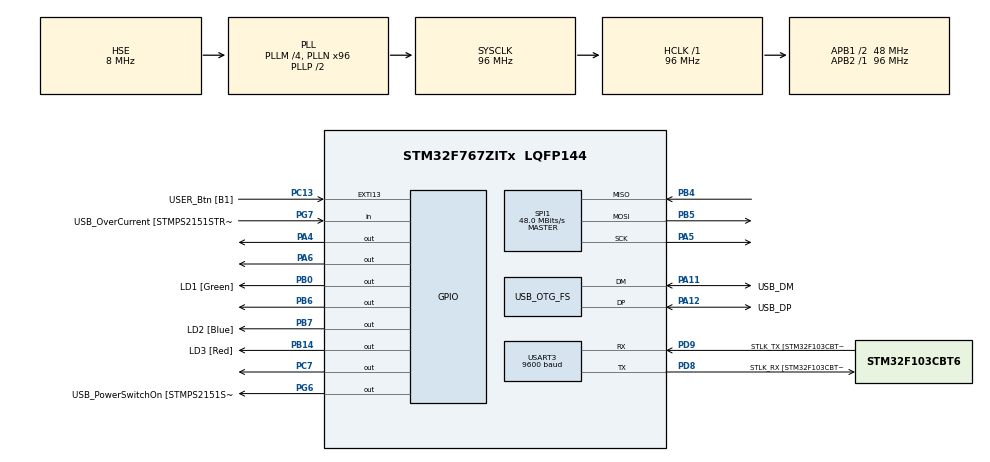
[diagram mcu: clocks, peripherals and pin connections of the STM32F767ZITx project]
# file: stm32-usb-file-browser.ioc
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CORTEX_M7.default_mode_Activation=1
Mcu.Family=STM32F7
Mcu.Name=STM32F767ZITx
Mcu.Package=LQFP144
NVIC.OTG_FS_IRQn=true\:0\:0\:false\:false\:true\:true\:false\:true
NVIC.PriorityGroup=NVIC_PRIORITYGROUP_4
PA1.GPIO_Label=RMII_REF_CLK [LAN8742A-CZ-TR_REFCLK0]
PA1.Signal=ETH_REF_CLK
PA10.GPIO_Label=USB_ID
PA10.Signal=USB_OTG_FS_ID
PA11.GPIO_Label=USB_DM
PA11.Mode=Host_Only
PA11.Signal=USB_OTG_FS_DM
PA12.GPIO_Label=USB_DP
PA12.Mode=Host_Only
PA12.Signal=USB_OTG_FS_DP
PA13.GPIO_Label=TMS
PA13.Mode=Serial_Wire
PA13.Signal=SYS_JTMS-SWDIO
PA14.GPIO_Label=TCK
PA14.Mode=Serial_Wire
PA14.Signal=SYS_JTCK-SWCLK
PA2.GPIO_Label=RMII_MDIO [LAN8742A-CZ-TR_MDIO]
PA2.Signal=ETH_MDIO
PA4.PinState=GPIO_PIN_SET
PA4.Signal=GPIO_Output
PA5.Mode=Full_Duplex_Master
PA5.Signal=SPI1_SCK
PA6.Signal=GPIO_Output
PA7.GPIO_Label=RMII_CRS_DV [LAN8742A-CZ-TR_CRS_DV]
PA7.Signal=ETH_CRS_DV
PA8.GPIO_Label=USB_SOF [TP1]
PA8.Signal=USB_OTG_FS_SOF
PA9.GPIO_Label=USB_VBUS
PA9.Signal=USB_OTG_FS_VBUS
PB0.GPIO_Label=LD1 [Green]
PB0.Signal=GPIO_Output
PB13.GPIO_Label=RMII_TXD1 [LAN8742A-CZ-TR_TXD1]
PB13.Signal=ETH_TXD1
PB14.GPIO_Label=LD3 [Red]
PB14.Signal=GPIO_Output
PB3.GPIO_Label=SW0
PB3.Signal=SYS_JTDO-SWO
PB4.Mode=Full_Duplex_Master
PB4.Signal=SPI1_MISO
PB5.Mode=Full_Duplex_Master
PB5.Signal=SPI1_MOSI
PB6.PinState=GPIO_PIN_SET
PB6.Signal=GPIO_Output
PB7.GPIO_Label=LD2 [Blue]
PB7.Signal=GPIO_Output
PC1.GPIO_Label=RMII_MDC [LAN8742A-CZ-TR_MDC]
PC1.Signal=ETH_MDC
PC13.GPIO_Label=USER_Btn [B1]
PC13.Signal=GPXTI13
PC14/OSC32_IN.Signal=RCC_OSC32_IN
PC15/OSC32_OUT.Signal=RCC_OSC32_OUT
PC4.GPIO_Label=RMII_RXD0 [LAN8742A-CZ-TR_RXD0]
PC4.Signal=ETH_RXD0
PC5.GPIO_Label=RMII_RXD1 [LAN8742A-CZ-TR_RXD1]
PC5.Signal=ETH_RXD1
PC7.PinState=GPIO_PIN_SET
PC7.Signal=GPIO_Output
PD8.GPIO_Label=STLK_RX [STM32F103CBT6_PA3]
PD8.Mode=Asynchronous
PD8.Signal=USART3_TX
PD9.GPIO_Label=STLK_TX [STM32F103CBT6_PA2]
PD9.Mode=Asynchronous
PD9.Signal=USART3_RX
PG11.GPIO_Label=RMII_TX_EN [LAN8742A-CZ-TR_TXEN]
PG11.Signal=ETH_TX_EN
PG13.GPIO_Label=RMII_TXD0 [LAN8742A-CZ-TR_TXD0]
PG13.Signal=ETH_TXD0
PG6.GPIO_Label=USB_PowerSwitchOn [STMPS2151STR_EN]
PG6.Signal=GPIO_Output
PG7.GPIO_Label=USB_OverCurrent [STMPS2151STR_FAULT]
PG7.Signal=GPIO_Input
PH0/OSC_IN.GPIO_Label=MCO [STM32F103CBT6_PA8]
PH0/OSC_IN.Mode=HSE-External-Clock-Source
PH0/OSC_IN.Signal=RCC_OSC_IN
PH1/OSC_OUT.Mode=HSE-External-Clock-Source
PH1/OSC_OUT.Signal=RCC_OSC_OUT
ProjectManager.HeapSize=0x200
ProjectManager.StackSize=0x400
ProjectManager.TargetToolchain=STM32CubeIDE
RCC.48MHZClocksFreq_Value=24000000
RCC.AHBFreq_Value=96000000
RCC.APB1CLKDivider=RCC_HCLK_DIV2
RCC.APB1Freq_Value=48000000
RCC.APB1TimFreq_Value=96000000
RCC.APB2Freq_Value=96000000
RCC.APB2TimFreq_Value=96000000
RCC.CortexFreq_Value=96000000
RCC.HCLKFreq_Value=96000000
RCC.HSE_VALUE=8000000
RCC.HSI_VALUE=16000000
RCC.LSE_VALUE=32768
RCC.PLLM=4
RCC.PLLMUL=RCC_PLL_MUL9
RCC.PLLN=96
RCC.PLLQ=4
RCC.PRESCALERUSB=RCC_USBCLKSOURCE_PLL_DIV1_5
RCC.SYSCLKFreq_VALUE=96000000
RCC.SYSCLKSource=RCC_SYSCLKSOURCE_PLLCLK
RCC.SYSCLKSourceVirtual=RCC_SYSCLKSOURCE_PLLCLK
RCC.USBFreq_Value=48000000
RCC.VCOOutputFreq_Value=192000000
SPI1.CalculateBaudRate=48.0 MBits/s
SPI1.DataSize=SPI_DATASIZE_8BIT
SPI1.Direction=SPI_DIRECTION_2LINES
SPI1.Mode=SPI_MODE_MASTER
SPI1.VirtualType=VM_MASTER
USART3.BaudRate=9600
USART3.VirtualMode-Asynchronous=VM_ASYNC
USB_OTG_FS.VirtualMode=Host_Only
USB_OTG_FS.phy_itface=HCD_PHY_EMBEDDED
board=NUCLEO-F767ZI

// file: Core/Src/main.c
/* USER CODE BEGIN Header */
/**
  ******************************************************************************
  * @file           : main.c
  * @brief          : Main program body
  ******************************************************************************
  * @attention
  *
  * Copyright (c) 2026 STMicroelectronics.
  * All rights reserved.
  *
  * This software is licensed under terms that can be found in the LICENSE file
  * in the root directory of this software component.
  * If no LICENSE file comes with this software, it is provided AS-IS.
  *
  ******************************************************************************
  */
/* USER CODE END Header */
#include "main.h"

/* USER CODE BEGIN Includes */
#include "lcd.h"
#include "touch.h"
#include <stdio.h>
#include <string.h>

#include "lvgl/lvgl.h"
#include "ui.h"
#include "actions.h"
#include "tusb.h"
#include "ff.h"
#include "diskio.h"
/* USER CODE END Includes */

SPI_HandleTypeDef hspi1;

UART_HandleTypeDef huart3;

HCD_HandleTypeDef hhcd_USB_OTG_FS;

/* USER CODE BEGIN PV */

#define LVGL_BUFFER_PIXELS (LCD_W * (LCD_H / 4))
static uint16_t buffer_pix[LVGL_BUFFER_PIXELS]__attribute__((aligned(4)));
static lv_display_t* disp;
static FATFS fs;

#define FM_VIEW_BYTES 4096

static char fm_pathbuffer[512] = "0:";
static char fm_fullpath[768];
static char fm_filebuf[FM_VIEW_BYTES + 1];
static FIL fm_file;
static lv_obj_t* fm_path_label;
static lv_obj_t* fm_wait_label;
static char fm_volname[24] = "USB";
static bool fm_ready = false;

/* USER CODE END PV */

void SystemClock_Config(void);
static void MPU_Config(void);
static void MX_GPIO_Init(void);
static void MX_SPI1_Init(void);
static void MX_USART3_UART_Init(void);
static void MX_USB_OTG_FS_HCD_Init(void);
/* USER CODE BEGIN PFP */
void lcd_flush(lv_display_t * disp, const lv_area_t * area, uint8_t * px_map);
void lcd_indev(lv_indev_t * indev, lv_indev_data_t * data);
static void fm_list_fill(void);
static void fm_ui_init(void);
/* USER CODE END PFP */

int main(void)
{

  /* USER CODE BEGIN 1 */
	lv_indev_t* touch_indev;
  /* USER CODE END 1 */

  /* MPU Configuration--------------------------------------------------------*/
  MPU_Config();

  /* MCU Configuration--------------------------------------------------------*/

  /* Reset of all peripherals, Initializes the Flash interface and the Systick. */
  HAL_Init();

  /* Configure the system clock */
  SystemClock_Config();

  /* Initialize all configured peripherals */
  MX_GPIO_Init();
  MX_SPI1_Init();
  MX_USART3_UART_Init();
  MX_USB_OTG_FS_HCD_Init();
  /* USER CODE BEGIN 2 */
  lcd_init();
  lcd_rect_fill(0, 0, LCD_W, LCD_H, BLACK);
  lv_init();
  lv_tick_set_cb(HAL_GetTick);

  disp = lv_display_create(LCD_W, LCD_H);
  lv_display_set_buffers(disp, buffer_pix, NULL, sizeof(buffer_pix), LV_DISPLAY_RENDER_MODE_PARTIAL);
  lv_display_set_flush_cb(disp, lcd_flush);

  touch_indev = lv_indev_create();
  lv_indev_set_type(touch_indev, LV_INDEV_TYPE_POINTER);
  lv_indev_set_read_cb(touch_indev, lcd_indev);

  ui_init();
  fm_ui_init();

  HAL_GPIO_WritePin(USB_PowerSwitchOn_GPIO_Port, USB_PowerSwitchOn_Pin, GPIO_PIN_SET);
  HAL_Delay(500);
  tusb_rhport_init_t host_init;
  host_init.role = TUSB_ROLE_HOST;
  host_init.speed = TUSB_SPEED_FULL;
  tusb_rhport_init(BOARD_TUH_RH_PORT, &host_init);

  /* USER CODE END 2 */

  /* Infinite loop */
  while (1)
  {

    /* USER CODE BEGIN 3 */
	  lv_timer_handler();
	  tuh_task();
	  ui_tick();
	  HAL_Delay(5);

  }
  /* USER CODE END 3 */
}

void SystemClock_Config(void)
{
  RCC_OscInitTypeDef RCC_OscInitStruct = {0};
  RCC_ClkInitTypeDef RCC_ClkInitStruct = {0};

  /** Configure the main internal regulator output voltage
  */
  __HAL_RCC_PWR_CLK_ENABLE();
  __HAL_PWR_VOLTAGESCALING_CONFIG(PWR_REGULATOR_VOLTAGE_SCALE3);

  /** Initializes the RCC Oscillators according to the specified parameters
  * in the RCC_OscInitTypeDef structure.
  */
  RCC_OscInitStruct.OscillatorType = RCC_OSCILLATORTYPE_HSE;
  RCC_OscInitStruct.HSEState = RCC_HSE_BYPASS;
  RCC_OscInitStruct.PLL.PLLState = RCC_PLL_ON;
  RCC_OscInitStruct.PLL.PLLSource = RCC_PLLSOURCE_HSE;
  RCC_OscInitStruct.PLL.PLLM = 4;
  RCC_OscInitStruct.PLL.PLLN = 96;
  RCC_OscInitStruct.PLL.PLLP = RCC_PLLP_DIV2;
  RCC_OscInitStruct.PLL.PLLQ = 4;
  RCC_OscInitStruct.PLL.PLLR = 2;
  if (HAL_RCC_OscConfig(&RCC_OscInitStruct) != HAL_OK)
  {
    Error_Handler();
  }

  /** Activate the Over-Drive mode
  */
  if (HAL_PWREx_EnableOverDrive() != HAL_OK)
  {
    Error_Handler();
  }

  /** Initializes the CPU, AHB and APB buses clocks
  */
  RCC_ClkInitStruct.ClockType = RCC_CLOCKTYPE_HCLK|RCC_CLOCKTYPE_SYSCLK
                              |RCC_CLOCKTYPE_PCLK1|RCC_CLOCKTYPE_PCLK2;
  RCC_ClkInitStruct.SYSCLKSource = RCC_SYSCLKSOURCE_PLLCLK;
  RCC_ClkInitStruct.AHBCLKDivider = RCC_SYSCLK_DIV1;
  RCC_ClkInitStruct.APB1CLKDivider = RCC_HCLK_DIV2;
  RCC_ClkInitStruct.APB2CLKDivider = RCC_HCLK_DIV1;

  if (HAL_RCC_ClockConfig(&RCC_ClkInitStruct, FLASH_LATENCY_3) != HAL_OK)
  {
    Error_Handler();
  }
}

static void MX_SPI1_Init(void)
{

  /* SPI1 parameter configuration*/
  hspi1.Instance = SPI1;
  hspi1.Init.Mode = SPI_MODE_MASTER;
  hspi1.Init.Direction = SPI_DIRECTION_2LINES;
  hspi1.Init.DataSize = SPI_DATASIZE_8BIT;
  hspi1.Init.CLKPolarity = SPI_POLARITY_LOW;
  hspi1.Init.CLKPhase = SPI_PHASE_1EDGE;
  hspi1.Init.NSS = SPI_NSS_SOFT;
  hspi1.Init.BaudRatePrescaler = SPI_BAUDRATEPRESCALER_2;
  hspi1.Init.FirstBit = SPI_FIRSTBIT_MSB;
  hspi1.Init.TIMode = SPI_TIMODE_DISABLE;
  hspi1.Init.CRCCalculation = SPI_CRCCALCULATION_DISABLE;
  hspi1.Init.CRCPolynomial = 7;
  hspi1.Init.CRCLength = SPI_CRC_LENGTH_DATASIZE;
  hspi1.Init.NSSPMode = SPI_NSS_PULSE_ENABLE;
  if (HAL_SPI_Init(&hspi1) != HAL_OK)
  {
    Error_Handler();
  }

}

static void MX_USART3_UART_Init(void)
{

  huart3.Instance = USART3;
  huart3.Init.BaudRate = 9600;
  huart3.Init.WordLength = UART_WORDLENGTH_8B;
  huart3.Init.StopBits = UART_STOPBITS_1;
  huart3.Init.Parity = UART_PARITY_NONE;
  huart3.Init.Mode = UART_MODE_TX_RX;
  huart3.Init.HwFlowCtl = UART_HWCONTROL_NONE;
  huart3.Init.OverSampling = UART_OVERSAMPLING_16;
  huart3.Init.OneBitSampling = UART_ONE_BIT_SAMPLE_DISABLE;
  huart3.AdvancedInit.AdvFeatureInit = UART_ADVFEATURE_NO_INIT;
  if (HAL_UART_Init(&huart3) != HAL_OK)
  {
    Error_Handler();
  }

}

static void MX_USB_OTG_FS_HCD_Init(void)
{

  hhcd_USB_OTG_FS.Instance = USB_OTG_FS;
  hhcd_USB_OTG_FS.Init.Host_channels = 8;
  hhcd_USB_OTG_FS.Init.speed = HCD_SPEED_FULL;
  hhcd_USB_OTG_FS.Init.dma_enable = DISABLE;
  hhcd_USB_OTG_FS.Init.phy_itface = HCD_PHY_EMBEDDED;
  hhcd_USB_OTG_FS.Init.Sof_enable = DISABLE;
  if (HAL_HCD_Init(&hhcd_USB_OTG_FS) != HAL_OK)
  {
    Error_Handler();
  }

}

static void MX_GPIO_Init(void)
{
  GPIO_InitTypeDef GPIO_InitStruct = {0};

  /* GPIO Ports Clock Enable */
  __HAL_RCC_GPIOC_CLK_ENABLE();
  __HAL_RCC_GPIOH_CLK_ENABLE();
  __HAL_RCC_GPIOA_CLK_ENABLE();
  __HAL_RCC_GPIOB_CLK_ENABLE();
  __HAL_RCC_GPIOD_CLK_ENABLE();
  __HAL_RCC_GPIOG_CLK_ENABLE();

  /*Configure GPIO pin Output Level */
  HAL_GPIO_WritePin(GPIOA, GPIO_PIN_4, GPIO_PIN_SET);

  /*Configure GPIO pin Output Level */
  HAL_GPIO_WritePin(GPIOA, GPIO_PIN_6, GPIO_PIN_RESET);

  /*Configure GPIO pin Output Level */
  HAL_GPIO_WritePin(GPIOB, LD1_Pin|LD3_Pin|LD2_Pin, GPIO_PIN_RESET);

  /*Configure GPIO pin Output Level */
  HAL_GPIO_WritePin(USB_PowerSwitchOn_GPIO_Port, USB_PowerSwitchOn_Pin, GPIO_PIN_RESET);

  /*Configure GPIO pin Output Level */
  HAL_GPIO_WritePin(GPIOC, GPIO_PIN_7, GPIO_PIN_SET);

  /*Configure GPIO pin Output Level */
  HAL_GPIO_WritePin(GPIOB, GPIO_PIN_6, GPIO_PIN_SET);

  /*Configure GPIO pin : USER_Btn_Pin */
  GPIO_InitStruct.Pin = USER_Btn_Pin;
  GPIO_InitStruct.Mode = GPIO_MODE_IT_RISING;
  GPIO_InitStruct.Pull = GPIO_NOPULL;
  HAL_GPIO_Init(USER_Btn_GPIO_Port, &GPIO_InitStruct);

  /*Configure GPIO pins : RMII_MDC_Pin RMII_RXD0_Pin RMII_RXD1_Pin */
  GPIO_InitStruct.Pin = RMII_MDC_Pin|RMII_RXD0_Pin|RMII_RXD1_Pin;
  GPIO_InitStruct.Mode = GPIO_MODE_AF_PP;
  GPIO_InitStruct.Pull = GPIO_NOPULL;
  GPIO_InitStruct.Speed = GPIO_SPEED_FREQ_HIGH;
  GPIO_InitStruct.Alternate = GPIO_AF11_ETH;
  HAL_GPIO_Init(GPIOC, &GPIO_InitStruct);

  /*Configure GPIO pins : RMII_REF_CLK_Pin RMII_MDIO_Pin RMII_CRS_DV_Pin */
  GPIO_InitStruct.Pin = RMII_REF_CLK_Pin|RMII_MDIO_Pin|RMII_CRS_DV_Pin;
  GPIO_InitStruct.Mode = GPIO_MODE_AF_PP;
  GPIO_InitStruct.Pull = GPIO_NOPULL;
  GPIO_InitStruct.Speed = GPIO_SPEED_FREQ_HIGH;
  GPIO_InitStruct.Alternate = GPIO_AF11_ETH;
  HAL_GPIO_Init(GPIOA, &GPIO_InitStruct);

  /*Configure GPIO pins : PA4 PA6 */
  GPIO_InitStruct.Pin = GPIO_PIN_4|GPIO_PIN_6;
  GPIO_InitStruct.Mode = GPIO_MODE_OUTPUT_PP;
  GPIO_InitStruct.Pull = GPIO_NOPULL;
  GPIO_InitStruct.Speed = GPIO_SPEED_FREQ_LOW;
  HAL_GPIO_Init(GPIOA, &GPIO_InitStruct);

  /*Configure GPIO pins : LD1_Pin LD3_Pin PB6 LD2_Pin */
  GPIO_InitStruct.Pin = LD1_Pin|LD3_Pin|GPIO_PIN_6|LD2_Pin;
  GPIO_InitStruct.Mode = GPIO_MODE_OUTPUT_PP;
  GPIO_InitStruct.Pull = GPIO_NOPULL;
  GPIO_InitStruct.Speed = GPIO_SPEED_FREQ_LOW;
  HAL_GPIO_Init(GPIOB, &GPIO_InitStruct);

  /*Configure GPIO pin : RMII_TXD1_Pin */
  GPIO_InitStruct.Pin = RMII_TXD1_Pin;
  GPIO_InitStruct.Mode = GPIO_MODE_AF_PP;
  GPIO_InitStruct.Pull = GPIO_NOPULL;
  GPIO_InitStruct.Speed = GPIO_SPEED_FREQ_HIGH;
  GPIO_InitStruct.Alternate = GPIO_AF11_ETH;
  HAL_GPIO_Init(RMII_TXD1_GPIO_Port, &GPIO_InitStruct);

  /*Configure GPIO pin : USB_PowerSwitchOn_Pin */
  GPIO_InitStruct.Pin = USB_PowerSwitchOn_Pin;
  GPIO_InitStruct.Mode = GPIO_MODE_OUTPUT_PP;
  GPIO_InitStruct.Pull = GPIO_NOPULL;
  GPIO_InitStruct.Speed = GPIO_SPEED_FREQ_LOW;
  HAL_GPIO_Init(USB_PowerSwitchOn_GPIO_Port, &GPIO_InitStruct);

  /*Configure GPIO pin : USB_OverCurrent_Pin */
  GPIO_InitStruct.Pin = USB_OverCurrent_Pin;
  GPIO_InitStruct.Mode = GPIO_MODE_INPUT;
  GPIO_InitStruct.Pull = GPIO_NOPULL;
  HAL_GPIO_Init(USB_OverCurrent_GPIO_Port, &GPIO_InitStruct);

  /*Configure GPIO pin : PC7 */
  GPIO_InitStruct.Pin = GPIO_PIN_7;
  GPIO_InitStruct.Mode = GPIO_MODE_OUTPUT_PP;
  GPIO_InitStruct.Pull = GPIO_NOPULL;
  GPIO_InitStruct.Speed = GPIO_SPEED_FREQ_LOW;
  HAL_GPIO_Init(GPIOC, &GPIO_InitStruct);

  /*Configure GPIO pins : RMII_TX_EN_Pin RMII_TXD0_Pin */
  GPIO_InitStruct.Pin = RMII_TX_EN_Pin|RMII_TXD0_Pin;
  GPIO_InitStruct.Mode = GPIO_MODE_AF_PP;
  GPIO_InitStruct.Pull = GPIO_NOPULL;
  GPIO_InitStruct.Speed = GPIO_SPEED_FREQ_HIGH;
  GPIO_InitStruct.Alternate = GPIO_AF11_ETH;
  HAL_GPIO_Init(GPIOG, &GPIO_InitStruct);

}

/* USER CODE BEGIN 4 */

static bool fm_build_full_path(const char* name){
	int written = snprintf(fm_fullpath, sizeof(fm_fullpath), "%s/%s", fm_pathbuffer, name);

	return (written > 0 && (size_t) written < sizeof(fm_fullpath));
}

static void fm_open_viewer(const char* name){
	UINT readcount;

	if(fm_build_full_path(name) == false){
		return;
	}

	if(f_open(&fm_file, fm_fullpath, FA_READ) != FR_OK){
		return;
	}

	if(f_read(&fm_file, fm_filebuf, FM_VIEW_BYTES, &readcount) != FR_OK){
		f_close(&fm_file);
		return;
	}

	if(f_size(&fm_file) > FM_VIEW_BYTES){
		lv_obj_remove_flag(objects.viewer_note, LV_OBJ_FLAG_HIDDEN);
	}
	else{
		lv_obj_add_flag(objects.viewer_note, LV_OBJ_FLAG_HIDDEN);
	}

	f_close(&fm_file);

	fm_filebuf[readcount] = '\0';

	for(UINT i = 0; i < readcount; i++){
		unsigned char c = (unsigned char) fm_filebuf[i];

		if(c != '\n' && c != '\r' && c != '\t' && (c < 0x20 || c > 0x7E)){
			fm_filebuf[i] = '.';
		}
	}

	lv_label_set_text(objects.viewer_title, name);
	lv_textarea_set_text(objects.viewer_text, fm_filebuf);
	loadScreen(SCREEN_ID_VIEWER);
}

static void fm_ui_init(void){
	fm_path_label = lv_label_create(objects.browser_top_bar);
	lv_label_set_long_mode(fm_path_label, LV_LABEL_LONG_MODE_SCROLL);
	lv_obj_set_width(fm_path_label, 170);
	lv_obj_set_style_text_align(fm_path_label, LV_TEXT_ALIGN_CENTER, LV_PART_MAIN);
	lv_obj_align(fm_path_label, LV_ALIGN_CENTER, 0, 0);

	lv_textarea_set_max_length(objects.viewer_text, 0);

	fm_wait_label = lv_label_create(objects.waiting);
	lv_label_set_text(fm_wait_label, "Waiting for USB");
	lv_obj_align(fm_wait_label, LV_ALIGN_CENTER, 0, 70);
}

static void fm_row_event(lv_event_t *e){

	lv_obj_t* row = (lv_obj_t*) lv_event_get_target(e);
	lv_event_code_t code = lv_event_get_code(e);
	if(code == LV_EVENT_CLICKED){
		const char* name = lv_list_get_button_text(objects.browser_list, row);

		if(lv_obj_has_flag(row, LV_OBJ_FLAG_USER_1)){
			size_t len = strlen(fm_pathbuffer);
			size_t room = sizeof(fm_pathbuffer) - len;
			int written = snprintf(fm_pathbuffer + len, room, "/%s", name);

			if(written < 0 || (size_t) written >= room){
				fm_pathbuffer[len] = '\0';
				return;
			}

			fm_list_fill();
			return;
		}

		fm_open_viewer(name);
	}
}
static void fm_list_fill(void)
{
    lv_obj_clean(objects.browser_list);

    if(strcmp(fm_pathbuffer, "0:") == 0){
    	lv_label_set_text(fm_path_label, fm_volname);
    	lv_obj_add_state(objects.browser_back_button, LV_STATE_DISABLED);
    }
    else{
    	lv_label_set_text(fm_path_label, fm_pathbuffer);
    	lv_obj_remove_state(objects.browser_back_button, LV_STATE_DISABLED);
    }

    if(fm_ready == false){
    	lv_obj_remove_flag(objects.waiting, LV_OBJ_FLAG_HIDDEN);
    	return;
    }

    lv_obj_add_flag(objects.waiting, LV_OBJ_FLAG_HIDDEN);

    static DIR dirvar;
    static FILINFO filinfovar;
    static FRESULT fresultvar;

    fresultvar = f_opendir(&dirvar,fm_pathbuffer);

    if(fresultvar != FR_OK){
    	return;
    }

    while(f_readdir(&dirvar, &filinfovar) == FR_OK && filinfovar.fname[0] != 0){
    	if(filinfovar.fattrib & (AM_HID | AM_SYS)){
    		continue;
    	}

    	if(filinfovar.fname[0] == '.'){
    		continue;
    	}

    	const void *icon = (filinfovar.fattrib & AM_DIR) ? LV_SYMBOL_DIRECTORY : LV_SYMBOL_FILE;

    	lv_obj_t *row = lv_list_add_button(objects.browser_list, icon, filinfovar.fname);

    	lv_obj_set_flex_align(row, LV_FLEX_ALIGN_START, LV_FLEX_ALIGN_CENTER, LV_FLEX_ALIGN_CENTER);

    	if(filinfovar.fattrib & AM_DIR){
    		lv_obj_add_flag(row, LV_OBJ_FLAG_USER_1);
    	}

    	lv_obj_add_event_cb(row, fm_row_event, LV_EVENT_CLICKED, NULL);
    }

    f_closedir(&dirvar);

}

void action_open_browser(lv_event_t * e){
	fm_list_fill();
	loadScreen(SCREEN_ID_BROWSER);
}

void action_close_pressed(lv_event_t * e){
	strcpy(fm_pathbuffer, "0:");
	loadScreen(SCREEN_ID_MAIN);
}

void action_viewer_back_pressed(lv_event_t * e){
	loadScreen(SCREEN_ID_BROWSER);
}

void action_back_pressed(lv_event_t * e){
	char* lastslash = strrchr(fm_pathbuffer, '/');

	if(lastslash == NULL){
		return;
	}

	*lastslash = '\0';
	fm_list_fill();

}

void lcd_indev(lv_indev_t * indev, lv_indev_data_t * data){
	static uint16_t touch_x, touch_y, touched;
	touched = touch_get(&touch_x,&touch_y);
	data->point.x = touch_x;
	data->point.y = touch_y;
	if(touched ==1){
		data->state = LV_INDEV_STATE_PRESSED;
	}
	else{
		data->state = LV_INDEV_STATE_RELEASED;
	}
}

void lcd_flush(lv_display_t * disp, const lv_area_t * area, uint8_t * px_map){
	int32_t area_height, area_width;
	area_height = lv_area_get_height(area);
	area_width = lv_area_get_width(area);
	lcd_image(area->x1, area->y1, area_width, area_height, (const uint16_t*) px_map);
	lv_display_flush_ready(disp);
}

void tuh_msc_mount_cb(uint8_t dev_addr){
	if(f_mount(&fs, "0:", 1) != FR_OK){
		return;
	}

	if(f_getlabel("0:", fm_volname, NULL) != FR_OK || fm_volname[0] == '\0'){
		strcpy(fm_volname, "USB");
	}

	fm_ready = true;
	fm_list_fill();
}

void tuh_msc_umount_cb(uint8_t dev_addr){
	fm_ready = false;
	f_mount(NULL, "0:", 0);
	strcpy(fm_pathbuffer, "0:");
	strcpy(fm_volname, "USB");

	if(lv_screen_active() == objects.viewer){
		loadScreen(SCREEN_ID_BROWSER);
	}

	fm_list_fill();
}

uint32_t tusb_time_millis_api(void){
	uint32_t return_time;
	return_time = HAL_GetTick();
	return return_time;
}

/* USER CODE END 4 */

 /* MPU Configuration */

void MPU_Config(void)
{
  MPU_Region_InitTypeDef MPU_InitStruct = {0};

  /* Disables the MPU */
  HAL_MPU_Disable();

  /** Initializes and configures the Region and the memory to be protected
  */
  MPU_InitStruct.Enable = MPU_REGION_ENABLE;
  MPU_InitStruct.Number = MPU_REGION_NUMBER0;
  MPU_InitStruct.BaseAddress = 0x0;
  MPU_InitStruct.Size = MPU_REGION_SIZE_4GB;
  MPU_InitStruct.SubRegionDisable = 0x87;
  MPU_InitStruct.TypeExtField = MPU_TEX_LEVEL0;
  MPU_InitStruct.AccessPermission = MPU_REGION_NO_ACCESS;
  MPU_InitStruct.DisableExec = MPU_INSTRUCTION_ACCESS_DISABLE;
  MPU_InitStruct.IsShareable = MPU_ACCESS_SHAREABLE;
  MPU_InitStruct.IsCacheable = MPU_ACCESS_NOT_CACHEABLE;
  MPU_InitStruct.IsBufferable = MPU_ACCESS_NOT_BUFFERABLE;

  HAL_MPU_ConfigRegion(&MPU_InitStruct);
  /* Enables the MPU */
  HAL_MPU_Enable(MPU_PRIVILEGED_DEFAULT);

}

void Error_Handler(void)
{
  __disable_irq();
  while (1)
  {
  }
}
